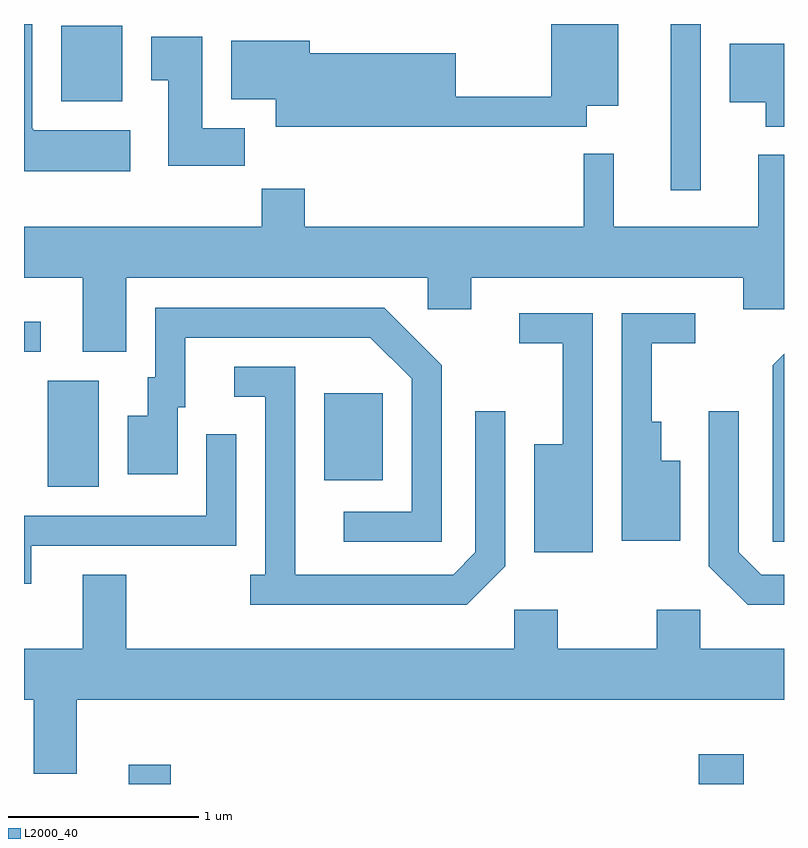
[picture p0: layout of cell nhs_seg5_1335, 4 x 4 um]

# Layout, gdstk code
import gdstk
lib = gdstk.Library(unit=1e-6, precision=1e-09)
def R(c, l, rs):  # rectangles x0, y0, x1, y1
    for r in rs: c.add(gdstk.rectangle(r[:2], r[2:], *l))
def P(c, l, *ps):  # polygons
    for p in ps: c.add(gdstk.Polygon(p, *l))
L2000_40 = (2000, 40)

nhs_seg5_1335 = lib.new_cell('nhs_seg5_1335')
R(nhs_seg5_1335, L2000_40, [(224.161,1514.072,224.384,1514.174), (227.161,1514.072,227.398,1514.229), (223.736,1515.636,224.004,1516.194), (225.191,1515.671,225.499,1516.129), (223.611,1516.346,223.698,1516.504), (227.016,1517.198,227.174,1518.072), (223.806,1517.666,224.129,1518.064)])
P(nhs_seg5_1335, L2000_40, [(224.169,1517.514),(223.66,1517.514),(223.66,1517.52),(223.654,1517.52),(223.654,1518.072),(223.611,1518.072),(223.611,1517.296),(224.169,1517.296)],
  [(226.574,1517.641),(226.739,1517.641),(226.739,1518.072),(226.386,1518.072),(226.386,1517.689),(225.884,1517.689),(225.884,1517.919),(225.114,1517.919),(225.114,1517.984),(224.701,1517.984),(224.701,1517.676),(224.936,1517.676),(224.936,1517.531),(226.574,1517.531)],
  [(224.774,1517.524),(224.549,1517.524),(224.549,1518.004),(224.281,1518.004),(224.281,1517.776),(224.371,1517.776),(224.371,1517.326),(224.774,1517.326)],
  [(227.611,1517.969),(227.326,1517.969),(227.326,1517.661),(227.516,1517.661),(227.516,1517.531),(227.611,1517.531)],
  [(224.149,1516.736),(225.736,1516.736),(225.736,1516.571),(225.964,1516.571),(225.964,1516.736),(227.396,1516.736),(227.396,1516.571),(227.611,1516.571),(227.611,1517.383),(227.476,1517.383),(227.476,1517.004),(226.714,1517.004),(226.714,1517.388),(226.556,1517.388),(226.556,1517.004),(225.089,1517.004),(225.089,1517.204),(224.861,1517.204),(224.861,1517.004),(223.611,1517.004),(223.611,1516.736),(223.921,1516.736),(223.921,1516.346),(224.149,1516.346)],
  [(225.809,1516.277),(225.507,1516.579),(224.301,1516.579),(224.301,1516.214),(224.261,1516.214),(224.261,1516.009),(224.156,1516.009),(224.156,1515.701),(224.419,1515.701),(224.419,1516.056),(224.459,1516.056),(224.459,1516.421),(225.434,1516.421),(225.651,1516.204),(225.651,1515.504),(225.293,1515.504),(225.293,1515.346),(225.809,1515.346)],
  [(227.064,1515.774),(226.964,1515.774),(226.964,1515.979),(226.914,1515.979),(226.914,1516.391),(227.143,1516.391),(227.143,1516.549),(226.756,1516.549),(226.756,1515.351),(227.064,1515.351)],
  [(226.604,1516.549),(226.218,1516.549),(226.218,1516.391),(226.446,1516.391),(226.446,1515.859),(226.296,1515.859),(226.296,1515.291),(226.604,1515.291)],
  [(227.611,1516.337),(227.551,1516.277),(227.551,1515.346),(227.611,1515.346)],
  [(226.144,1515.219),(226.144,1516.033),(225.986,1516.033),(225.986,1515.292),(225.869,1515.174),(225.039,1515.174),(225.039,1516.269),(224.718,1516.269),(224.718,1516.111),(224.881,1516.111),(224.881,1515.174),(224.803,1515.174),(224.803,1515.016),(225.942,1515.016)],
  [(227.611,1515.174),(227.492,1515.174),(227.374,1515.292),(227.374,1516.033),(227.216,1516.033),(227.216,1515.219),(227.419,1515.016),(227.611,1515.016)],
  [(223.649,1515.326),(224.729,1515.326),(224.729,1515.913),(224.571,1515.913),(224.571,1515.484),(223.611,1515.484),(223.611,1515.126),(223.649,1515.126)],
  [(223.889,1514.516),(227.611,1514.516),(227.611,1514.784),(227.169,1514.784),(227.169,1514.989),(226.941,1514.989),(226.941,1514.784),(226.419,1514.784),(226.419,1514.989),(226.191,1514.989),(226.191,1514.784),(224.149,1514.784),(224.149,1515.174),(223.921,1515.174),(223.921,1514.784),(223.611,1514.784),(223.611,1514.516),(223.661,1514.516),(223.661,1514.126),(223.889,1514.126)])

lib.write_gds('nhs_seg5_1335.gds')
